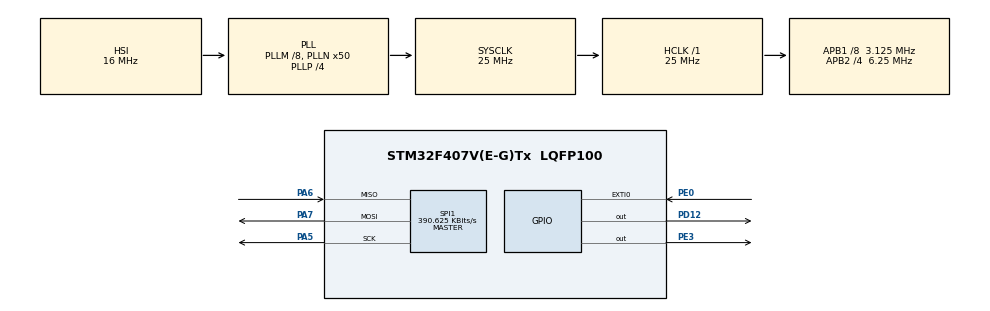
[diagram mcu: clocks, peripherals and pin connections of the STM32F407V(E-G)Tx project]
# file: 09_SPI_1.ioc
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Mcu.Family=STM32F4
Mcu.Name=STM32F407V(E-G)Tx
Mcu.Package=LQFP100
NVIC.EXTI0_IRQn=true\:0\:0\:false\:false\:true\:true
NVIC.PriorityGroup=NVIC_PRIORITYGROUP_0
PA5.Mode=Full_Duplex_Master
PA5.Signal=SPI1_SCK
PA6.Mode=Full_Duplex_Master
PA6.Signal=SPI1_MISO
PA7.Mode=Full_Duplex_Master
PA7.Signal=SPI1_MOSI
PD12.Signal=GPIO_Output
PE0.Signal=GPXTI0
PE3.PinState=GPIO_PIN_SET
PE3.Signal=GPIO_Output
ProjectManager.HeapSize=0x200
ProjectManager.StackSize=0x400
ProjectManager.TargetToolchain=MDK-ARM V5
RCC.48MHZClocksFreq_Value=14285714.285714285
RCC.AHBFreq_Value=25000000
RCC.APB1CLKDivider=RCC_HCLK_DIV8
RCC.APB1Freq_Value=3125000
RCC.APB1TimFreq_Value=6250000
RCC.APB2CLKDivider=RCC_HCLK_DIV4
RCC.APB2Freq_Value=6250000
RCC.APB2TimFreq_Value=12500000
RCC.CortexFreq_Value=25000000
RCC.HCLKFreq_Value=25000000
RCC.HSE_VALUE=8000000
RCC.HSI_VALUE=16000000
RCC.LSE_VALUE=32768
RCC.PLLM=8
RCC.PLLN=50
RCC.PLLP=RCC_PLLP_DIV4
RCC.PLLQ=7
RCC.SYSCLKFreq_VALUE=25000000
RCC.SYSCLKSource=RCC_SYSCLKSOURCE_PLLCLK
RCC.VCOOutputFreq_Value=100000000
SPI1.BaudRatePrescaler=SPI_BAUDRATEPRESCALER_16
SPI1.CalculateBaudRate=390.625 KBits/s
SPI1.Direction=SPI_DIRECTION_2LINES
SPI1.Mode=SPI_MODE_MASTER
SPI1.VirtualType=VM_MASTER
board=STM32F4DISCOVERY

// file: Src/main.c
#include "main.h"
#include "stm32f4xx_hal.h"

SPI_HandleTypeDef hspi1;

/* USER CODE BEGIN PV */
/* Private variables ---------------------------------------------------------*/

/* USER CODE END PV */

void SystemClock_Config(void);
static void MX_GPIO_Init(void);
static void MX_SPI1_Init(void);

/* USER CODE BEGIN PFP */
/* Private function prototypes -----------------------------------------------*/

/* USER CODE END PFP */

/* USER CODE BEGIN 0 */
uint8_t spitxbuffer[2], spirxbuffer[2] 	;
/* USER CODE END 0 */

int main(void)
{

  /* MCU Configuration----------------------------------------------------------*/

  /* Reset of all peripherals, Initializes the Flash interface and the Systick. */
  HAL_Init();

  /* Configure the system clock */
  SystemClock_Config();

  /* Initialize all configured peripherals */
  MX_GPIO_Init();
  MX_SPI1_Init();
  /* USER CODE BEGIN 2 */
	// ********* SPI TRANSMIT ************
// 1. bring slave select low
HAL_GPIO_WritePin(GPIOE,GPIO_PIN_3,GPIO_PIN_RESET);
// 2. transmit data to spi rx buffer
spirxbuffer[0] = 0x20 ;
spirxbuffer[1] = 0x11 ;
HAL_SPI_Transmit(&hspi1,spitxbuffer,2,50);
// 3 . bring slave select high
HAL_GPIO_WritePin(GPIOE,GPIO_PIN_3,GPIO_PIN_SET);
// *********** SPI RECEIVE ************
// 1. brig select slave low
HAL_GPIO_WritePin(GPIOE,GPIO_PIN_3,GPIO_PIN_RESET);
// 2. transmit register + 0x80 ( to set the msb bit to high , read mode )
spitxbuffer[0] =  0x20|0x80 ;
HAL_SPI_Transmit(&hspi1,spitxbuffer,1,50);
// 3. Receive data
HAL_SPI_Receive(&hspi1,spirxbuffer,1,50);
// 4. bring slave select high again
HAL_GPIO_WritePin(GPIOE,GPIO_PIN_3,GPIO_PIN_SET);
/* USER CODE END 2 */

  /* Infinite loop */
  while (1)
  {

  /* USER CODE BEGIN 3 */
// *********** SPI RECEIVE ************
// 1. brig select slave low
HAL_GPIO_WritePin(GPIOE,GPIO_PIN_3,GPIO_PIN_RESET);
// 2. transmit register + 0x80 ( to set the msb bit to high , read mode )
spitxbuffer[0] =  0x29|0x80 ;
HAL_SPI_Transmit(&hspi1,spitxbuffer,1,50);
// 3. Receive data
HAL_SPI_Receive(&hspi1,spirxbuffer,1,50);
// 4. bring slave select high again
HAL_GPIO_WritePin(GPIOE,GPIO_PIN_3,GPIO_PIN_SET);

		HAL_Delay(300);
  }
  /* USER CODE END 3 */

}

void SystemClock_Config(void)
{

  RCC_OscInitTypeDef RCC_OscInitStruct;
  RCC_ClkInitTypeDef RCC_ClkInitStruct;

    /**Configure the main internal regulator output voltage
    */
  __HAL_RCC_PWR_CLK_ENABLE();

  __HAL_PWR_VOLTAGESCALING_CONFIG(PWR_REGULATOR_VOLTAGE_SCALE1);

    /**Initializes the CPU, AHB and APB busses clocks
    */
  RCC_OscInitStruct.OscillatorType = RCC_OSCILLATORTYPE_HSI;
  RCC_OscInitStruct.HSIState = RCC_HSI_ON;
  RCC_OscInitStruct.HSICalibrationValue = 16;
  RCC_OscInitStruct.PLL.PLLState = RCC_PLL_ON;
  RCC_OscInitStruct.PLL.PLLSource = RCC_PLLSOURCE_HSI;
  RCC_OscInitStruct.PLL.PLLM = 8;
  RCC_OscInitStruct.PLL.PLLN = 50;
  RCC_OscInitStruct.PLL.PLLP = RCC_PLLP_DIV4;
  RCC_OscInitStruct.PLL.PLLQ = 7;
  if (HAL_RCC_OscConfig(&RCC_OscInitStruct) != HAL_OK)
  {
    _Error_Handler(__FILE__, __LINE__);
  }

    /**Initializes the CPU, AHB and APB busses clocks
    */
  RCC_ClkInitStruct.ClockType = RCC_CLOCKTYPE_HCLK|RCC_CLOCKTYPE_SYSCLK
                              |RCC_CLOCKTYPE_PCLK1|RCC_CLOCKTYPE_PCLK2;
  RCC_ClkInitStruct.SYSCLKSource = RCC_SYSCLKSOURCE_PLLCLK;
  RCC_ClkInitStruct.AHBCLKDivider = RCC_SYSCLK_DIV1;
  RCC_ClkInitStruct.APB1CLKDivider = RCC_HCLK_DIV8;
  RCC_ClkInitStruct.APB2CLKDivider = RCC_HCLK_DIV4;

  if (HAL_RCC_ClockConfig(&RCC_ClkInitStruct, FLASH_LATENCY_0) != HAL_OK)
  {
    _Error_Handler(__FILE__, __LINE__);
  }

    /**Configure the Systick interrupt time
    */
  HAL_SYSTICK_Config(HAL_RCC_GetHCLKFreq()/1000);

    /**Configure the Systick
    */
  HAL_SYSTICK_CLKSourceConfig(SYSTICK_CLKSOURCE_HCLK);

  /* SysTick_IRQn interrupt configuration */
  HAL_NVIC_SetPriority(SysTick_IRQn, 0, 0);
}

/* SPI1 init function */
static void MX_SPI1_Init(void)
{

  /* SPI1 parameter configuration*/
  hspi1.Instance = SPI1;
  hspi1.Init.Mode = SPI_MODE_MASTER;
  hspi1.Init.Direction = SPI_DIRECTION_2LINES;
  hspi1.Init.DataSize = SPI_DATASIZE_8BIT;
  hspi1.Init.CLKPolarity = SPI_POLARITY_LOW;
  hspi1.Init.CLKPhase = SPI_PHASE_1EDGE;
  hspi1.Init.NSS = SPI_NSS_SOFT;
  hspi1.Init.BaudRatePrescaler = SPI_BAUDRATEPRESCALER_16;
  hspi1.Init.FirstBit = SPI_FIRSTBIT_MSB;
  hspi1.Init.TIMode = SPI_TIMODE_DISABLE;
  hspi1.Init.CRCCalculation = SPI_CRCCALCULATION_DISABLE;
  hspi1.Init.CRCPolynomial = 10;
  if (HAL_SPI_Init(&hspi1) != HAL_OK)
  {
    _Error_Handler(__FILE__, __LINE__);
  }

}

/** Configure pins as
        * Analog
        * Input
        * Output
        * EVENT_OUT
        * EXTI
*/
static void MX_GPIO_Init(void)
{

  GPIO_InitTypeDef GPIO_InitStruct;

  /* GPIO Ports Clock Enable */
  __HAL_RCC_GPIOE_CLK_ENABLE();
  __HAL_RCC_GPIOA_CLK_ENABLE();
  __HAL_RCC_GPIOD_CLK_ENABLE();

  /*Configure GPIO pin Output Level */
  HAL_GPIO_WritePin(GPIOE, GPIO_PIN_3, GPIO_PIN_SET);

  /*Configure GPIO pin Output Level */
  HAL_GPIO_WritePin(GPIOD, GPIO_PIN_12, GPIO_PIN_RESET);

  /*Configure GPIO pin : PE3 */
  GPIO_InitStruct.Pin = GPIO_PIN_3;
  GPIO_InitStruct.Mode = GPIO_MODE_OUTPUT_PP;
  GPIO_InitStruct.Pull = GPIO_NOPULL;
  GPIO_InitStruct.Speed = GPIO_SPEED_FREQ_LOW;
  HAL_GPIO_Init(GPIOE, &GPIO_InitStruct);

  /*Configure GPIO pin : PD12 */
  GPIO_InitStruct.Pin = GPIO_PIN_12;
  GPIO_InitStruct.Mode = GPIO_MODE_OUTPUT_PP;
  GPIO_InitStruct.Pull = GPIO_NOPULL;
  GPIO_InitStruct.Speed = GPIO_SPEED_FREQ_LOW;
  HAL_GPIO_Init(GPIOD, &GPIO_InitStruct);

  /*Configure GPIO pin : PE0 */
  GPIO_InitStruct.Pin = GPIO_PIN_0;
  GPIO_InitStruct.Mode = GPIO_MODE_IT_RISING;
  GPIO_InitStruct.Pull = GPIO_NOPULL;
  HAL_GPIO_Init(GPIOE, &GPIO_InitStruct);

  /* EXTI interrupt init*/
  HAL_NVIC_SetPriority(EXTI0_IRQn, 0, 0);
  HAL_NVIC_EnableIRQ(EXTI0_IRQn);

}

void _Error_Handler(char *file, int line)
{
  while(1)
  {
  }
}

/************************ (C) COPYRIGHT STMicroelectronics *****END OF FILE****/
